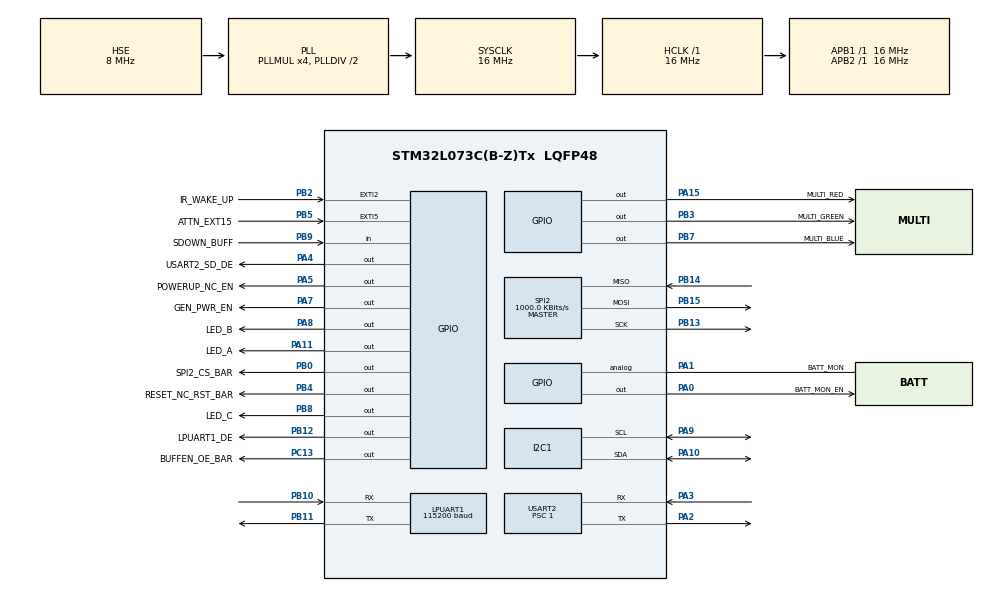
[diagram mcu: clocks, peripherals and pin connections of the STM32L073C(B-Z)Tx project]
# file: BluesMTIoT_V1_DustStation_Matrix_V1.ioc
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I2C1.Timing=0x00503D58
LPUART1.BaudRate=115200
LPUART1.WordLength=UART_WORDLENGTH_8B
Mcu.Family=STM32L0
Mcu.Name=STM32L073C(B-Z)Tx
Mcu.Package=LQFP48
NVIC.EXTI2_3_IRQn=true\:0\:0\:false\:false\:true\:true\:true\:true
NVIC.EXTI4_15_IRQn=true\:0\:0\:false\:false\:true\:true\:true\:true
NVIC.RNG_LPUART1_IRQn=true\:0\:0\:false\:false\:true\:true\:true\:true
NVIC.RTC_IRQn=true\:0\:0\:false\:false\:true\:true\:true\:true
NVIC.USART2_IRQn=true\:0\:0\:false\:false\:true\:true\:true\:true
PA0.GPIO_Label=BATT_MON_EN
PA0.Signal=GPIO_Output
PA1.GPIO_Label=BATT_MON
PA1.Signal=GPIO_Analog
PA10.GPIO_Pu=GPIO_NOPULL
PA10.Mode=I2C
PA10.Signal=I2C1_SDA
PA11.GPIO_Label=LED_A
PA11.GPIO_PuPd=GPIO_PULLUP
PA11.PinState=GPIO_PIN_RESET
PA11.Signal=GPIO_Output
PA13.Mode=Serial_Wire
PA13.Signal=SYS_SWDIO
PA14.Mode=Serial_Wire
PA14.Signal=SYS_SWCLK
PA15.GPIO_Label=MULTI_RED
PA15.GPIO_PuPd=GPIO_PULLUP
PA15.PinState=GPIO_PIN_SET
PA15.Signal=GPIO_Output
PA2.Mode=IrDA
PA2.Signal=USART2_TX
PA3.Mode=IrDA
PA3.Signal=USART2_RX
PA4.GPIO_Label=USART2_SD_DE
PA4.GPIO_PuPd=GPIO_PULLDOWN
PA4.GPIO_Speed=GPIO_SPEED_FREQ_HIGH
PA4.Signal=GPIO_Output
PA5.GPIO_Label=POWERUP_NC_EN
PA5.GPIO_PuPd=GPIO_PULLUP
PA5.Signal=GPIO_Output
PA7.GPIO_Label=GEN_PWR_EN
PA7.GPIO_PuPd=GPIO_PULLUP
PA7.PinState=GPIO_PIN_RESET
PA7.Signal=GPIO_Output
PA8.GPIO_Label=LED_B
PA8.GPIO_PuPd=GPIO_PULLUP
PA8.Signal=GPIO_Output
PA9.GPIO_Pu=GPIO_NOPULL
PA9.Mode=I2C
PA9.Signal=I2C1_SCL
PB0.GPIO_Label=SPI2_CS_BAR
PB0.GPIO_PuPd=GPIO_PULLUP
PB0.PinState=GPIO_PIN_SET
PB0.Signal=GPIO_Output
PB10.Mode=Asynchronous
PB10.Signal=LPUART1_RX
PB11.Mode=Asynchronous
PB11.Signal=LPUART1_TX
PB12.GPIO_Label=LPUART1_DE
PB12.GPIO_PuPd=GPIO_PULLDOWN
PB12.GPIO_Speed=GPIO_SPEED_FREQ_HIGH
PB12.Signal=GPIO_Output
PB13.Mode=Full_Duplex_Master
PB13.Signal=SPI2_SCK
PB14.Mode=Full_Duplex_Master
PB14.Signal=SPI2_MISO
PB15.Mode=Full_Duplex_Master
PB15.Signal=SPI2_MOSI
PB2.GPIO_Label=IR_WAKE_UP
PB2.GPIO_ModeDefaultEXTI=GPIO_MODE_IT_FALLING
PB2.GPIO_PuPd=GPIO_NOPULL
PB2.Signal=GPXTI2
PB3.GPIO_Label=MULTI_GREEN
PB3.GPIO_PuPd=GPIO_PULLUP
PB3.PinState=GPIO_PIN_SET
PB3.Signal=GPIO_Output
PB4.GPIO_Label=RESET_NC_RST_BAR
PB4.GPIO_PuPd=GPIO_PULLUP
PB4.PinState=GPIO_PIN_SET
PB4.Signal=GPIO_Output
PB5.GPIO_Label=ATTN_EXT15
PB5.GPIO_ModeDefaultEXTI=GPIO_MODE_IT_RISING
PB5.GPIO_PuPd=GPIO_NOPULL
PB5.Signal=GPXTI5
PB7.GPIO_Label=MULTI_BLUE
PB7.GPIO_PuPd=GPIO_PULLUP
PB7.PinState=GPIO_PIN_SET
PB7.Signal=GPIO_Output
PB8.GPIO_Label=LED_C
PB8.GPIO_PuPd=GPIO_PULLUP
PB8.PinState=GPIO_PIN_RESET
PB8.Signal=GPIO_Output
PB9.GPIO_Label=SDOWN_BUFF
PB9.Signal=GPIO_Input
PC13.GPIO_Label=BUFFEN_OE_BAR
PC13.GPIO_PuPd=GPIO_PULLUP
PC13.PinState=GPIO_PIN_SET
PC13.Signal=GPIO_Output
PC14-OSC32_IN.Mode=LSE-External-Clock-Source
PC14-OSC32_IN.Signal=RCC_OSC32_IN
PH0-OSC_IN.Mode=HSE-External-Clock-Source
PH0-OSC_IN.Signal=RCC_OSC_IN
ProjectManager.HeapSize=0x200
ProjectManager.StackSize=0x400
ProjectManager.TargetToolchain=STM32CubeIDE
RCC.AHBFreq_Value=16000000
RCC.APB1Freq_Value=16000000
RCC.APB1TimFreq_Value=16000000
RCC.APB2Freq_Value=16000000
RCC.APB2TimFreq_Value=16000000
RCC.HCLKFreq_Value=16000000
RCC.HSE_VALUE=8000000
RCC.HSI16_VALUE=16000000
RCC.HSI48_VALUE=48000000
RCC.HSI_VALUE=16000000
RCC.I2c1ClockSelection=RCC_I2C1CLKSOURCE_SYSCLK
RCC.LSE_VALUE=32768
RCC.Lpuart1ClockSelection=RCC_LPUART1CLKSOURCE_SYSCLK
RCC.MSI_VALUE=2097000
RCC.PLLMUL=RCC_PLLMUL_4
RCC.PLLSourceVirtual=RCC_PLLSOURCE_HSE
RCC.RTCClockSelection=RCC_RTCCLKSOURCE_LSE
RCC.RTCClockSelectionVirtual=RCC_RTCCLKSOURCE_LSE
RCC.SYSCLKFreq_VALUE=16000000
RCC.SYSCLKSource=RCC_SYSCLKSOURCE_PLLCLK
RCC.Usart2ClockSelection=RCC_USART2CLKSOURCE_SYSCLK
RCC.VCOOutputFreq_Value=32000000
SPI2.BaudRatePrescaler=SPI_BAUDRATEPRESCALER_16
SPI2.CalculateBaudRate=1000.0 KBits/s
SPI2.Direction=SPI_DIRECTION_2LINES
SPI2.Mode=SPI_MODE_MASTER
SPI2.VirtualType=VM_MASTER
USART2.Prescaler=1
USART2.VirtualMode-IrDA=VM_IRDA
VP_RTC_VS_RTC_Activate.Mode=RTC_Enabled
VP_RTC_VS_RTC_Calendar.Mode=RTC_Calendar
VP_RTC_VS_RTC_WakeUp_intern.Mode=WakeUp
board=custom

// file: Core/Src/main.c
/* USER CODE BEGIN Header */
/**
  ******************************************************************************
  * @file           : main.c
  * @brief          : Main program body
  ******************************************************************************
  * @attention
  *
  * Copyright (c) 2026 STMicroelectronics.
  * All rights reserved.
  *
  * This software is licensed under terms that can be found in the LICENSE file
  * in the root directory of this software component.
  * If no LICENSE file comes with this software, it is provided AS-IS.
  *
  ******************************************************************************
  */
/* USER CODE END Header */
#include "main.h"

/* USER CODE BEGIN Includes */
#include <stdbool.h>
#include <stdlib.h>
#include <string.h>
#include <usart2.h>
#include <lpuart1.h>
#include "particle_sensor.h"
#include "note.h"

#include "process.h"
#include "rtc.h"
#include "inits.h"

/* USER CODE END Includes */

/* USER CODE BEGIN PD */
// Notecard I2C address (7-bit)
#define NOTE_I2C_ADDR        0x17
// Maximum I2C buffer size for Notecard
#define NOTE_I2C_MAX_SIZE    256
/* USER CODE END PD */

I2C_HandleTypeDef hi2c1;

UART_HandleTypeDef hlpuart1;
IRDA_HandleTypeDef hirda2;

RTC_HandleTypeDef hrtc;

SPI_HandleTypeDef hspi2;

/* USER CODE BEGIN PV */
#ifdef IR_USART2_SEL
  IRDA_HandleTypeDef* pActiveIrda = &hirda2;
#else
  UART_HandleTypeDef* pActiveUart = &husart2;
#endif

// USART2 variables
uint8_t rx_buffer[MAX_RX_BUFFER_ARRAY];
uint8_t tx_buffer[MAX_TX_BUFFER_ARRAY];
volatile uint16_t rx_index;
volatile uint16_t tx_index;
volatile uint16_t tx_length;
volatile uint8_t tx_busy;

// LPUART1 variables (temporary only)
uint8_t rx_byte;
uint8_t tx_message[] = "LPUART1 Ready\r\n";

/* USER CODE END PV */

void SystemClock_Config(void);
static void MX_GPIO_Init(void);
static void MX_USART2_IRDA_Init(void);
static void MX_I2C1_Init(void);
static void MX_LPUART1_UART_Init(void);
static void MX_RTC_Init(void);
static void MX_SPI2_Init(void);
/* USER CODE BEGIN PFP */
// =========================================================================
// STOP MODE Functions
// =========================================================================
void Set_IR_WakeUp_As_Input(void)
{
    GPIO_InitTypeDef GPIO_InitStruct = {0};
    GPIO_InitStruct.Pin = IR_WAKE_UP_Pin;
    GPIO_InitStruct.Mode = GPIO_MODE_INPUT;
    GPIO_InitStruct.Pull = GPIO_NOPULL;
    HAL_GPIO_Init(IR_WAKE_UP_GPIO_Port, &GPIO_InitStruct);
}

void Set_IR_WakeUp_As_Interrupt(void)
{
    GPIO_InitTypeDef GPIO_InitStruct = {0};
    GPIO_InitStruct.Pin = IR_WAKE_UP_Pin;
    GPIO_InitStruct.Mode = GPIO_MODE_IT_FALLING;
    GPIO_InitStruct.Pull = GPIO_NOPULL;
    HAL_GPIO_Init(IR_WAKE_UP_GPIO_Port, &GPIO_InitStruct);
}

void Enter_Stop_Mode(void)
{
    uint32_t now_epoch = RTC_GetEpochSeconds();

    // If the scheduled sample time has already arrived or passed while awake, return immediately
    if (SysState.next_sample_epoch != 0 && now_epoch >= SysState.next_sample_epoch)
    {
        return;
    }

    uint32_t sleep_sec = (SysState.next_sample_epoch > now_epoch)
                         ? (SysState.next_sample_epoch - now_epoch)
                         : SysState.sample_interval_sec;
    if (sleep_sec == 0) sleep_sec = 1;

    // 1. Configure RTC WakeUp Timer for exact remaining seconds (0-indexed: sleep_sec - 1)
    HAL_RTCEx_DeactivateWakeUpTimer(&hrtc);
    __HAL_PWR_CLEAR_FLAG(PWR_FLAG_WU);
    __HAL_RTC_WAKEUPTIMER_CLEAR_FLAG(&hrtc, RTC_FLAG_WUTF);
    SysState.rtc_wakeup_pending = 0;
    //SysState.attn_pending = 0;
    SysState.wakeup_source = WAKEUP_NONE;
    HAL_RTCEx_SetWakeUpTimer_IT(&hrtc, (sleep_sec > 1) ? (sleep_sec - 1) : 1, RTC_WAKEUPCLOCK_CK_SPRE_16BITS);

    // 2. Power down external peripherals (RS-485, IrDA TX, EEPROM)
    HAL_GPIO_WritePin(GEN_PWR_EN_GPIO_Port, GEN_PWR_EN_Pin, GPIO_PIN_RESET);
    HAL_Delay(10); // Let 3p0_GEN rail discharge cleanly

    // Abort sleep immediately if an IR wakeup pulse arrived during the 10ms rail discharge!
    if (HAL_GPIO_ReadPin(IR_WAKE_UP_GPIO_Port, IR_WAKE_UP_Pin) == GPIO_PIN_RESET)
    {
        HAL_GPIO_WritePin(GEN_PWR_EN_GPIO_Port, GEN_PWR_EN_Pin, GPIO_PIN_SET);
        SysState.last_activity_tick = HAL_GetTick();
        return;
    }

    // 3. Turn off status LEDs and suspend SysTick
    HAL_GPIO_WritePin(LED_A_GPIO_Port, LED_A_Pin, GPIO_PIN_RESET);
    HAL_GPIO_WritePin(LED_B_GPIO_Port, LED_B_Pin, GPIO_PIN_RESET);
    HAL_SuspendTick();

    // 4. Disable UART/IrDA NVIC interrupts while unpowered so line drops don't trigger false IRQs
    HAL_NVIC_DisableIRQ(USART2_IRQn);
    HAL_NVIC_DisableIRQ(LPUART1_IRQn);

    // 5. Arm PB2 (IR_WAKE_UP) and PB5 (ATTN) EXTI interrupts cleanly
    Set_IR_WakeUp_As_Interrupt();
    __HAL_GPIO_EXTI_CLEAR_IT(IR_WAKE_UP_Pin);
    __HAL_GPIO_EXTI_CLEAR_IT(ATTN_EXT15_Pin);
    __HAL_RTC_WAKEUPTIMER_EXTI_CLEAR_FLAG();
    HAL_NVIC_ClearPendingIRQ(EXTI2_3_IRQn);
    HAL_NVIC_ClearPendingIRQ(EXTI4_15_IRQn);
    HAL_NVIC_ClearPendingIRQ(RTC_IRQn);
    HAL_NVIC_EnableIRQ(EXTI2_3_IRQn);
    HAL_NVIC_EnableIRQ(EXTI4_15_IRQn);
    SCB->ICSR = SCB_ICSR_PENDSTCLR_Msk;

    // 6. Enter STOP Mode (PWR_MAINREGULATOR_ON for fast wakeup)
    HAL_PWR_EnterSTOPMode(PWR_MAINREGULATOR_ON, PWR_STOPENTRY_WFI);

    // ================== MCU WAKES UP HERE ==================

    // 7. Power up GEN_PWR_EN FIRST so U34 & IrDA transceiver warm up in parallel
    HAL_GPIO_WritePin(GEN_PWR_EN_GPIO_Port, GEN_PWR_EN_Pin, GPIO_PIN_SET);

    // 8. Resume SysTick and restore System Clock immediately
    HAL_ResumeTick();
    SystemClock_Config();
    HAL_GPIO_WritePin(LED_A_GPIO_Port, LED_A_Pin, GPIO_PIN_SET);

    // 9. Disarm PB2 EXTI, re-enable UART NVIC IRQs, and start RX immediately
    HAL_NVIC_DisableIRQ(EXTI2_3_IRQn);
    Set_IR_WakeUp_As_Input();
    HAL_NVIC_EnableIRQ(USART2_IRQn);
    HAL_NVIC_EnableIRQ(LPUART1_IRQn);
    Start_Uart2_Rx();
    Start_Lpuart1_Rx();

    // 10. Reset inactivity timer so MCU stays awake for at least INACTIVITY_SLEEP_MS
    SysState.last_activity_tick = HAL_GetTick();
}

// =========================================================================
// OFFICIAL TRANSLATION HOOKS: Maps STM32 HAL directly to note-c API
// =========================================================================

// Signature matches: typedef bool (*i2cResetFn) (uint16_t deviceAddress);
bool noteI2CReset(uint16_t deviceAddress) {
    return (HAL_I2C_IsDeviceReady(&hi2c1, (deviceAddress << 1), 3, 100) == HAL_OK);
}

const char *noteI2CTransmit(uint16_t deviceAddress, uint8_t *buffer, uint16_t size) {
    uint8_t *writebuf = malloc(size + 1);
    if (writebuf == NULL) {
        return "I2C: malloc failed";
    }
    writebuf[0] = (uint8_t)size;
    memcpy(&writebuf[1], buffer, size);
    HAL_StatusTypeDef status = HAL_I2C_Master_Transmit(&hi2c1, (deviceAddress << 1), writebuf, size + 1, 200);
    free(writebuf);
    return (status == HAL_OK) ? NULL : "I2C Transmit Error";
}

const char *noteI2CReceive(uint16_t deviceAddress, uint8_t *buffer, uint16_t size, uint32_t *available) {
    // First, request a read of (size + 2) bytes: [available_byte, good_byte, payload...]
    uint8_t hdr[2] = {0, (uint8_t)size};  // 0 = reserved, size = requested bytes
    HAL_StatusTypeDef status = HAL_I2C_Master_Transmit(&hi2c1, (deviceAddress << 1), hdr, 2, 200);
    if (status != HAL_OK) {
        *available = 0;
        return "I2C Receive: transmit request failed";
    }

    uint8_t *readbuf = malloc(size + 2);
    if (readbuf == NULL) {
        *available = 0;
        return "I2C Receive: malloc failed";
    }
    status = HAL_I2C_Master_Receive(&hi2c1, (deviceAddress << 1), readbuf, size + 2, 200);
    if (status != HAL_OK) {
        free(readbuf);
        *available = 0;
        return "I2C Receive: receive failed";
    }

    *available = readbuf[0];   // number of bytes actually available in Notecard
    if (readbuf[1] != size) {  // sanity check: should equal requested size
        free(readbuf);
        return "I2C Receive: length mismatch";
    }
    memcpy(buffer, &readbuf[2], size);
    free(readbuf);
    return NULL;
}

// Platform time management hooks
void noteDelayMs(uint32_t ms) {
    HAL_Delay(ms);
}

uint32_t noteMillis(void) {
    return HAL_GetTick();
}

// =========================-===========
// GETTING INCOMING DATA FROM THE NOTECARD
// Function to check for and process inbound notes from Notehub
void processInboundNotes(void)
{
    while (1)
    {
        // Retrieve and delete the next inbound note from data.qi
        J *get_req = NoteNewRequest("note.get");
        if (get_req == NULL) return;

        JAddStringToObject(get_req, "file", "data.qi");
        JAddBoolToObject(get_req, "delete", true);

        J *note_rsp = NoteRequestResponse(get_req);
        if (note_rsp == NULL) return;

        // If Notecard returns an error (e.g. "{no-note}" when queue is empty), stop looping
        if (NoteResponseError(note_rsp)) {
            NoteDeleteResponse(note_rsp);
            return;
        }

        J *inbound_body = JGetObject(note_rsp, "body");
        if (inbound_body != NULL) {
            /*
            const char *command = JGetString(inbound_body, "led");
            if (command != NULL) {
                if (strcmp(command, "on") == 0) {
                    HAL_GPIO_WritePin(MULTI_RED_GPIO_Port, MULTI_RED_Pin, GPIO_PIN_SET);
                    HAL_GPIO_WritePin(MULTI_GREEN_GPIO_Port, MULTI_GREEN_Pin, GPIO_PIN_SET);
                } else if (strcmp(command, "off") == 0) {
                    HAL_GPIO_WritePin(MULTI_RED_GPIO_Port, MULTI_RED_Pin, GPIO_PIN_RESET);
                    HAL_GPIO_WritePin(MULTI_GREEN_GPIO_Port, MULTI_GREEN_Pin, GPIO_PIN_RESET);
                }
            }
            */
            // Add future inbound command parsing here
        }
        NoteDeleteResponse(note_rsp);
    }
}

// =========================================================================
// QUEUE DUST TELEMETRY TO NOTECARD & TRIGGER CLOUD SYNC
// =========================================================================
void Notecard_SendDustReading(const ParticleReading_t *reading)
{
    if (reading == NULL || !reading->valid) return;

    // 1. Add note to sensors.qo using the compact template defined in Block B
    J *req = NoteNewRequest("note.add");
    if (req != NULL) {
        JAddStringToObject(req, "file", "sensors.qo");

        J *body = JCreateObject();
        if (body != NULL) {
            JAddNumberToObject(body, "rec",    reading->record_number);
            JAddNumberToObject(body, "ts",     RTC_GetEpochSeconds());
            JAddNumberToObject(body, "pm2_5",  reading->pm2_5);
            JAddNumberToObject(body, "pm10",   reading->pm10);
            JAddNumberToObject(body, "counts", reading->total_counts);
            JAddNumberToObject(body, "flow",   reading->flow_rate_ml_min);
            JAddNumberToObject(body, "dur_s",  reading->sample_seconds);
            JAddNumberToObject(body, "err",    reading->error_status);
            JAddItemToObject(req, "body", body);
        }

        // Sends request and automatically frees req, body, and response
        NoteRequest(req);
    }

    // 2. Trigger background cellular/Wi-Fi sync to Notehub.io
    J *sync_req = NoteNewCommand("hub.sync");
    if (sync_req != NULL) {
        NoteRequest(sync_req);
    }

    // Process any inbound notes from the cloud (matches original Block C line 739)
    processInboundNotes();

    // 3. Flash MULTI_BLUE once to show telemetry was queued to Notecard
    HAL_GPIO_WritePin(MULTI_BLUE_GPIO_Port, MULTI_BLUE_Pin, GPIO_PIN_SET);
    HAL_Delay(100);
    HAL_GPIO_WritePin(MULTI_BLUE_GPIO_Port, MULTI_BLUE_Pin, GPIO_PIN_RESET);
}

/* USER CODE END PFP */

int main(void)
{

  /* MCU Configuration--------------------------------------------------------*/

  /* Reset of all peripherals, Initializes the Flash interface and the Systick. */
  HAL_Init();

  /* Configure the system clock */
  SystemClock_Config();

  /* Initialize all configured peripherals */
  MX_GPIO_Init();
  MX_USART2_IRDA_Init();
  MX_I2C1_Init();
  MX_LPUART1_UART_Init();
  MX_RTC_Init();
  MX_SPI2_Init();
  /* USER CODE BEGIN 2 */

  HAL_GPIO_WritePin(LED_A_GPIO_Port, LED_A_Pin, GPIO_PIN_RESET);
  HAL_GPIO_WritePin(LED_B_GPIO_Port, LED_B_Pin, GPIO_PIN_RESET);
  HAL_GPIO_WritePin(LED_C_GPIO_Port, LED_C_Pin, GPIO_PIN_RESET);

  HAL_GPIO_WritePin(MULTI_RED_GPIO_Port, MULTI_RED_Pin, GPIO_PIN_RESET);
  HAL_GPIO_WritePin(MULTI_GREEN_GPIO_Port, MULTI_GREEN_Pin, GPIO_PIN_RESET);
  HAL_GPIO_WritePin(MULTI_BLUE_GPIO_Port, MULTI_BLUE_Pin, GPIO_PIN_RESET);

  // LPUART1
  HAL_GPIO_WritePin(LPUART1_DE_GPIO_Port, LPUART1_DE_Pin, GPIO_PIN_RESET); // Recv mode

  // USART2
  HAL_GPIO_WritePin(USART2_SD_DE_GPIO_Port, USART2_SD_DE_Pin, GPIO_PIN_RESET); // Recv mode

  // EEPROM
  HAL_GPIO_WritePin(SPI2_CS_BAR_GPIO_Port, SPI2_CS_BAR_Pin, GPIO_PIN_SET);

  // Power Distribution (3p3_SW --> 3p0_GEN) -- POWER UP both USART2 and LPUART1 as well as external EEPROM (M95P32-EXMNT/E)
  // We should not have this powered on by default during final deployment.
  // It should only be on when it needs to be on (e.g. communicating and/or saving data to the EEPROM)

  // Enable 3p0_GEN power rail to the RS-485 transceiver (U19)
  HAL_GPIO_WritePin(GEN_PWR_EN_GPIO_Port, GEN_PWR_EN_Pin, GPIO_PIN_SET);
  HAL_GPIO_WritePin(POWERUP_NC_EN_GPIO_Port, POWERUP_NC_EN_Pin, GPIO_PIN_SET);
  HAL_Delay(100);

  // Reset the Note Card
  HAL_GPIO_WritePin(RESET_NC_RST_BAR_GPIO_Port, RESET_NC_RST_BAR_Pin, GPIO_PIN_RESET);
  HAL_Delay(1000);
  HAL_GPIO_WritePin(RESET_NC_RST_BAR_GPIO_Port, RESET_NC_RST_BAR_Pin, GPIO_PIN_SET);

  // CRITICAL: Wait for Notecard to fully boot (needs ~5 seconds)
  // MT: Uplink Block disabled A_MINUS_1
  HAL_Delay(8000);

  // Three quick blinks = hardware started correctly
  for (int i = 0; i < 5; i++)
  {
      HAL_GPIO_WritePin(LED_B_GPIO_Port, LED_B_Pin, GPIO_PIN_SET);
      HAL_Delay(100);
      HAL_GPIO_WritePin(LED_B_GPIO_Port, LED_B_Pin, GPIO_PIN_RESET);
      HAL_Delay(100);
  }

  // Initialize the RTC
  RTC_Init();
  HAL_RTCEx_DeactivateWakeUpTimer(&hrtc);
  SysState.rtc_wakeup_pending = 0;

  // Start Receive Interrupts of both USART2 and LPUART1
  Start_Uart2_Rx();  // Start USART2 Receive Interrupts
  Start_Lpuart1_Rx(); // Start LPUART1 Receive Interrupts

  // This was to fix the Notecarrier power-off during Start Sampling issue,
  // where even after powering back on, Stop Sampling did not take effect.
  // Instead it was back to back Start Sampling followed by a very momentary Stop Sampling
  // and back to Start Sampling loop.
  // Note: This was with the Particle Plus powered independently with its 12V jack.
  //           Likely would not occur if the power supply is controlled by the Notecarrier as it would power on/off
  //           all peripherals like the Particle Plus for each Sampling session.
  // 1. Clear any leftover RTC wakeup flag from cold boot
  HAL_RTCEx_DeactivateWakeUpTimer(&hrtc);
  __HAL_RTC_WAKEUPTIMER_CLEAR_FLAG(&hrtc, RTC_FLAG_WUTF);
  SysState.rtc_wakeup_pending = 0;

  // 2. Power/prepare Particles Plus and configure sample timing
  Particle_PowerAndPrepare(DEFAULT_SAMPLE_DURATION_SEC);
  HAL_Delay(250);

  // Particle Sensor 7 Seconds On-Off Test
  if (Particle_Run7SecTest())
  {
      HAL_Delay(300); // Allow sensor to commit startup sample record to flash
      Particle_LatchAndReadLatest(&LatestDustReading);

      // Green/LED_A solid = Start & Stop commands both acknowledged!
      HAL_GPIO_WritePin(LED_A_GPIO_Port, LED_A_Pin, GPIO_PIN_SET);
  }
  else
  {
      // Red LED = No Modbus response or timeout
      HAL_GPIO_WritePin(MULTI_RED_GPIO_Port, MULTI_RED_Pin, GPIO_PIN_SET);
  }

// MT: Uplink Block disabled A
  // =========================================================================
  // Register I2C translators with note-c framework
  // =========================================================================
  NoteSetFn(malloc, free, noteDelayMs, noteMillis);
  NoteSetFnI2C(NOTE_I2C_ADDR, NOTE_I2C_MAX_SIZE, noteI2CReset, noteI2CTransmit, noteI2CReceive);

  // =========================================================================
  // Verify I2C communication with Notecard
  // =========================================================================
  HAL_Delay(500);  // Small delay before first ping

  if (!noteI2CReset(NOTE_I2C_ADDR)) {
      // Fast flashing = Cannot talk to Notecard over I2C
      while(1) {
    	  HAL_GPIO_TogglePin(MULTI_RED_GPIO_Port, MULTI_RED_Pin);
          HAL_Delay(100);
      }
  }

  // Slow blink 3 times = I2C communication verified
  for (int i = 0; i < 3; i++) {
      HAL_GPIO_WritePin(LED_B_GPIO_Port, LED_B_Pin, GPIO_PIN_SET);
      HAL_Delay(300);
      HAL_GPIO_WritePin(LED_B_GPIO_Port, LED_B_Pin, GPIO_PIN_RESET);
      HAL_Delay(300);
  }

  // =========================================================================
  // Configure Notecard once at startup
  // =========================================================================

  // Set Product and mode (runs once)
  J *config_req = NoteNewRequest("hub.set");
  if (config_req) {
      JAddStringToObject(config_req, "product", "com.yahoo.nanogens:dust_station_matrix_v1");
      JAddStringToObject(config_req, "mode", "periodic");      // Low-power periodic mode
      JAddNumberToObject(config_req, "outbound", 0);           // Manual sync via hub.sync
      JAddNumberToObject(config_req, "inbound", 0);            // Manual sync via hub.sync
      NoteRequest(config_req);  // Waits for confirmation and frees both req & rsp
  }
  J *location_req = NoteNewRequest("card.location.mode");
  if (location_req) {
      JAddStringToObject(location_req, "mode", "periodic");   // Saves battery when stationary
      JAddNumberToObject(location_req, "seconds", 300);       // Match your 5-minute STM32 loop
      NoteRequest(location_req);
  }

  // 3. Process any inbound notes already waiting on the Notecard, then arm ATTN (PB5)
  processInboundNotes();

  J *attn_req = NoteNewRequest("card.attn");
  if (attn_req) {
      JAddStringToObject(attn_req, "mode", "arm,rearm,files");
      const char *filesToWatch[] = {"data.qi"};
      JAddItemToObject(attn_req, "files", JCreateStringArray(filesToWatch, 1));
      NoteRequest(attn_req);
  }

  // Clear any old test data
  J *delete_req = NoteNewRequest("file.delete");
  if (delete_req) {
      JAddStringToObject(delete_req, "file", "sensors.qo");
      NoteRequest(delete_req);
  }

  // Verify Notecard is ready
  J *version_req = NoteNewRequest("card.version");
  if (version_req) {
      J *version_rsp = NoteRequestResponse(version_req);
      if (version_rsp) {
          // 5 quick blinks = ready
          for (int i = 0; i < 5; i++) {
              HAL_GPIO_WritePin(MULTI_GREEN_GPIO_Port, MULTI_GREEN_Pin, GPIO_PIN_SET);
              HAL_Delay(50);
              HAL_GPIO_WritePin(MULTI_GREEN_GPIO_Port, MULTI_GREEN_Pin, GPIO_PIN_RESET);
              HAL_Delay(50);
          }
          NoteDeleteResponse(version_rsp);
      }
  }

  SysState.last_activity_tick = HAL_GetTick();

  SysState.next_sample_epoch = RTC_GetEpochSeconds() + SysState.sample_interval_sec;
  SysState.last_activity_tick = HAL_GetTick();

  /* USER CODE END 2 */

  /* Infinite loop */
  /* USER CODE BEGIN WHILE */

  // MT: Uplink Block B
    // Create a compact binary template for sensors.qo matching ParticleReading_t
    J *template_req = NoteNewRequest("note.template");
    if (template_req) {
        JAddStringToObject(template_req, "file", "sensors.qo");

        // Define the schema using Notecard type hints:
        // 24 = uint32_t, 22 = uint16_t, 14.1 = float (4-byte IEEE-754)
        J *body = JCreateObject();
        if (body) {
            JAddNumberToObject(body, "rec",    24);    // uint32_t: Record number
            JAddNumberToObject(body, "ts",     24);    // uint32_t: RTC epoch timestamp (s since 2000-01-01)
            JAddNumberToObject(body, "pm2_5",  14.1);  // float:    PM2.5 concentration (ug/m3)
            JAddNumberToObject(body, "pm10",   14.1);  // float:    PM10 concentration (ug/m3)
            JAddNumberToObject(body, "counts", 14.1);  // float:    Total particle counts (#/cm3)
            JAddNumberToObject(body, "flow",   22);    // uint16_t: Average pump flow rate (mL/min)
            JAddNumberToObject(body, "dur_s",  22);    // uint16_t: Sample duration (seconds)
            JAddNumberToObject(body, "err",    22);    // uint16_t: Sensor error status bitmask
            JAddItemToObject(template_req, "body", body);
        }

        // Send the template request (automatically frees template_req, body, and response)
        NoteRequest(template_req);
    }
    HAL_Delay(500);  // Give Notecard time to apply the template
    Notecard_SendDustReading(&LatestDustReading); // <-- ADD THIS LINE (uploads startup test reading)
    SysState.last_activity_tick = HAL_GetTick();

  // Testing LPUART1 transmission
  /*
  uint8_t data[] = "Hello World\r\n";
  while(1)
  {
    HAL_UART_Transmit(&hlpuart1, data, sizeof(data) - 1, HAL_MAX_DELAY);
    HAL_Delay(500);
  }
  */

  uint32_t sample_start_tick = 0;
  uint32_t sample_duration_ms = DEFAULT_SAMPLE_DURATION_SEC * 1000UL;

  while (1)
  {
      ProcessMsg();

	  //HAL_GPIO_TogglePin(LED_A_GPIO_Port, LED_A_Pin);
	  //HAL_GPIO_TogglePin(LED_B_GPIO_Port, LED_B_Pin);
	  //HAL_GPIO_TogglePin(LED_C_GPIO_Port, LED_C_Pin);
	  //HAL_Delay(1000);

	  // Testing LPUART1  output ===========================
	  // Enable RS-485 Transmitter
	  // HAL_GPIO_WritePin(LPUART1_DE_GPIO_Port, LPUART1_DE_Pin, GPIO_PIN_SET);
	  // Send message
	  // HAL_UART_Transmit(&hlpuart1, tx_message, sizeof(tx_message) - 1, 100);
	  // Return to RS-485 Receiver mode
	  // HAL_GPIO_WritePin(LPUART1_DE_GPIO_Port, LPUART1_DE_Pin, GPIO_PIN_RESET);

	  // Testing UART2 output ===========================
	  // Ensure IrDA transceiver shutdown/DE pin (PA4) is LOW (Active/Normal mode)
	  //HAL_GPIO_WritePin(USART2_SD_DE_GPIO_Port, USART2_SD_DE_Pin, GPIO_PIN_RESET);
	  // Send 1 byte using blocking IrDA transmit
	  //HAL_IRDA_Transmit(&hirda2, &irda_test, 1, 100);

      // 1. Start a scheduled dust sample when the target RTC epoch arrives (non-blocking)
      if ((!SysState.sampling_active) &&
          (SysState.next_sample_epoch != 0) &&
          (RTC_GetEpochSeconds() >= SysState.next_sample_epoch))
      {
          if (Particle_PowerAndPrepare(DEFAULT_SAMPLE_DURATION_SEC) && Particle_StartSampling())
          {
              SysState.sampling_active = 1;
              sample_start_tick = HAL_GetTick();
              HAL_GPIO_WritePin(LED_C_GPIO_Port, LED_C_Pin, GPIO_PIN_SET);
          }
          else
          {
              // Retry in 5 seconds if Modbus prep/start failed
              SysState.next_sample_epoch = RTC_GetEpochSeconds() + 5;
          }
      }

      // 2. Monitor active sample non-blockingly until sensor finishes & saves record (status == 2)
      if (SysState.sampling_active)
      {
          uint32_t elapsed_ms = HAL_GetTick() - sample_start_tick;
          if (elapsed_ms >= sample_duration_ms)
          {
              uint16_t status = 0;
              Particle_ReadU16(PP_REG_SAMPLING_STATUS, &status);

              // Sensor finished its countdown naturally (status == 2) OR 15s safety timeout hit
              if (status == 2 || elapsed_ms >= (sample_duration_ms + 8000))
              {
                  if (status != 2)
                  {
                      Particle_StopSampling();
                  }
                  HAL_Delay(300); // Allow sensor to commit new record to flash

                  // Latch and read the newly saved record (record_number + PM2.5, PM10, counts, flow)
                  Particle_LatchAndReadLatest(&LatestDustReading);
                  Notecard_SendDustReading(&LatestDustReading);

                  HAL_GPIO_WritePin(LED_C_GPIO_Port, LED_C_Pin, GPIO_PIN_RESET);

                  // Schedule next sample anchored to the end of this completed sample
                  SysState.next_sample_epoch = RTC_GetEpochSeconds() + SysState.sample_interval_sec;
                  SysState.sampling_active = 0;
                  SysState.last_activity_tick = HAL_GetTick();
              }
          }
      }

      // 3. Handle Notecard ATTN wakeup flag (PB5 falling edge from inbound data.qi)
      if (SysState.attn_pending)
      {
          SysState.attn_pending = 0;

          // Flash MULTI_BLUE once to confirm PB5 ATTN wakeup trigger
          HAL_GPIO_WritePin(MULTI_BLUE_GPIO_Port, MULTI_BLUE_Pin, GPIO_PIN_SET);
          HAL_Delay(100);
          HAL_GPIO_WritePin(MULTI_BLUE_GPIO_Port, MULTI_BLUE_Pin, GPIO_PIN_RESET);

          // Check and process inbound commands in data.qi
          processInboundNotes();

          // Re-arm the Notecard ATTN pin so PB5 returns LOW until the next inbound note
          J *rearm_req = NoteNewRequest("card.attn");
          if (rearm_req != NULL) {
              JAddStringToObject(rearm_req, "mode", "arm,rearm,files");
              const char *filesToWatch[] = {"data.qi"};
              JAddItemToObject(rearm_req, "files", JCreateStringArray(filesToWatch, 1));
              NoteRequest(rearm_req);
          }

          SysState.last_activity_tick = HAL_GetTick();
      }

      // Check all 4 conditions before entering STOP mode:
      // a) Inactivity timer expired (>= INACTIVITY_SLEEP_MS)
      // b) No sampling cycle actively running
      // c) Sample interval > 5s (if <= 5s, stay awake with GEN_PWR_EN ON)
      // d) No pending Notecard ATTN interrupt
      if (
    	  ((HAL_GetTick() - SysState.last_activity_tick) >= INACTIVITY_SLEEP_MS) &&
          (!SysState.sampling_active) &&
          (SysState.sample_interval_sec > FAST_SAMPLE_THRESHOLD_SEC) &&
          (!SysState.attn_pending))
      {
          Enter_Stop_Mode();
      }

/*
// MT: Uplink Block disabled C
      // Create and send the note (no reconfiguration!)
	  J *req = NoteNewRequest("note.add");
	  if (req != NULL) {
	      J *body = JCreateObject();
	      JAddNumberToObject(body, "press", press_value);
	      JAddNumberToObject(body, "temp", temp_value);
	      JAddNumberToObject(body, "cond", cond_value);
	      JAddItemToObject(req, "body", body); // Attached to req
	      NoteRequest(req);
	      NoteDeleteResponse(req);             // Cleans up BOTH req and body automatically!

	      // 🗑️ REMOVED: if (body != NULL) JDelete(body);
	  }

      // Sync (sends outbound data and checks for inbound)
      J *sync_req = NoteNewCommand("hub.sync");
      if (sync_req) {
          NoteRequest(sync_req);
          NoteDeleteResponse(sync_req);
      }

      // Process any inbound notes from the cloud
      processInboundNotes();

      // Flash LED once to show transaction attempted
      HAL_GPIO_WritePin(MULTI_BLUE_GPIO_Port, MULTI_BLUE_Pin, GPIO_PIN_SET);
      HAL_Delay(100);
      HAL_GPIO_WritePin(MULTI_BLUE_GPIO_Port, MULTI_BLUE_Pin, GPIO_PIN_RESET);

      // Update test values
      press_value += 1;
      temp_value += 2;
      cond_value += 4;

      // Wait 5 mins before next reading
      // Note: 5 mins minimum is needed for it to lock GPS satellites
      //HAL_Delay(300000);

      // =========================================================================
      // Put STM32 into Low-Power STOP Mode instead of HAL_Delay
      // =========================================================================

      // Clear RTC flags and set the 5-minute backup alarm
      __HAL_RTC_WAKEUPTIMER_CLEAR_FLAG(&hrtc, RTC_FLAG_WUTF);
      HAL_RTCEx_SetWakeUpTimer_IT(&hrtc, 300, RTC_WAKEUPCLOCK_CK_SPRE_16BITS); // 300 seconds = 5 minutes exactly

      HAL_SuspendTick();
      HAL_PWR_EnterSTOPMode(PWR_MAINREGULATOR_ON, PWR_SLEEPENTRY_WFI);

      // -------------- THE STM32 SLEEPS UNTIL RTC TIMER OR PB5 EXTI FALLS --------------

      HAL_ResumeTick();
      HAL_RTCEx_DeactivateWakeUpTimer(&hrtc);
      SystemClock_Config(); // Restore full speed clocks (HSE/PLL)

      // Check if the Notecard's ATTN pin woke us up - 2 possible reasons: (a) Incoming data (ATTN_P interrupt from Note Card) or (b) 5 minute STM32 Wakeup timer which we have set
      J *attn_check = NoteNewRequest("card.attn");
      if (attn_check)
      {
          J *attn_rsp = NoteRequestResponse(attn_check);
          if (attn_rsp) {
              // If "files" is true in the response, we have inbound data waiting!
              if (JGetBool(attn_rsp, "files")) {
                  processInboundNotes(); // Process commands (like toggling LEDs) immediately
              }
              NoteDeleteResponse(attn_rsp);
          }
          NoteDeleteResponse(attn_check);
      }
*/
    /* USER CODE END WHILE */

  }
}

void SystemClock_Config(void)
{
  RCC_OscInitTypeDef RCC_OscInitStruct = {0};
  RCC_ClkInitTypeDef RCC_ClkInitStruct = {0};
  RCC_PeriphCLKInitTypeDef PeriphClkInit = {0};

  /** Configure the main internal regulator output voltage
  */
  __HAL_PWR_VOLTAGESCALING_CONFIG(PWR_REGULATOR_VOLTAGE_SCALE1);

  /** Initializes the RCC Oscillators according to the specified parameters
  * in the RCC_OscInitTypeDef structure.
  */
  RCC_OscInitStruct.OscillatorType = RCC_OSCILLATORTYPE_HSE|RCC_OSCILLATORTYPE_LSE;
  RCC_OscInitStruct.HSEState = RCC_HSE_BYPASS;
  RCC_OscInitStruct.LSEState = RCC_LSE_BYPASS;
  RCC_OscInitStruct.PLL.PLLState = RCC_PLL_ON;
  RCC_OscInitStruct.PLL.PLLSource = RCC_PLLSOURCE_HSE;
  RCC_OscInitStruct.PLL.PLLMUL = RCC_PLLMUL_4;
  RCC_OscInitStruct.PLL.PLLDIV = RCC_PLLDIV_2;
  if (HAL_RCC_OscConfig(&RCC_OscInitStruct) != HAL_OK)
  {
    Error_Handler();
  }

  /** Initializes the CPU, AHB and APB buses clocks
  */
  RCC_ClkInitStruct.ClockType = RCC_CLOCKTYPE_HCLK|RCC_CLOCKTYPE_SYSCLK
                              |RCC_CLOCKTYPE_PCLK1|RCC_CLOCKTYPE_PCLK2;
  RCC_ClkInitStruct.SYSCLKSource = RCC_SYSCLKSOURCE_PLLCLK;
  RCC_ClkInitStruct.AHBCLKDivider = RCC_SYSCLK_DIV1;
  RCC_ClkInitStruct.APB1CLKDivider = RCC_HCLK_DIV1;
  RCC_ClkInitStruct.APB2CLKDivider = RCC_HCLK_DIV1;

  if (HAL_RCC_ClockConfig(&RCC_ClkInitStruct, FLASH_LATENCY_0) != HAL_OK)
  {
    Error_Handler();
  }
  PeriphClkInit.PeriphClockSelection = RCC_PERIPHCLK_USART2|RCC_PERIPHCLK_LPUART1
                              |RCC_PERIPHCLK_I2C1|RCC_PERIPHCLK_RTC;
  PeriphClkInit.Usart2ClockSelection = RCC_USART2CLKSOURCE_SYSCLK;
  PeriphClkInit.Lpuart1ClockSelection = RCC_LPUART1CLKSOURCE_SYSCLK;
  PeriphClkInit.I2c1ClockSelection = RCC_I2C1CLKSOURCE_SYSCLK;
  PeriphClkInit.RTCClockSelection = RCC_RTCCLKSOURCE_LSE;
  if (HAL_RCCEx_PeriphCLKConfig(&PeriphClkInit) != HAL_OK)
  {
    Error_Handler();
  }
}

static void MX_I2C1_Init(void)
{

  hi2c1.Instance = I2C1;
  hi2c1.Init.Timing = 0x00503D58;
  hi2c1.Init.OwnAddress1 = 0;
  hi2c1.Init.AddressingMode = I2C_ADDRESSINGMODE_7BIT;
  hi2c1.Init.DualAddressMode = I2C_DUALADDRESS_DISABLE;
  hi2c1.Init.OwnAddress2 = 0;
  hi2c1.Init.OwnAddress2Masks = I2C_OA2_NOMASK;
  hi2c1.Init.GeneralCallMode = I2C_GENERALCALL_DISABLE;
  hi2c1.Init.NoStretchMode = I2C_NOSTRETCH_DISABLE;
  if (HAL_I2C_Init(&hi2c1) != HAL_OK)
  {
    Error_Handler();
  }

  /** Configure Analogue filter
  */
  if (HAL_I2CEx_ConfigAnalogFilter(&hi2c1, I2C_ANALOGFILTER_ENABLE) != HAL_OK)
  {
    Error_Handler();
  }

  /** Configure Digital filter
  */
  if (HAL_I2CEx_ConfigDigitalFilter(&hi2c1, 0) != HAL_OK)
  {
    Error_Handler();
  }

}

static void MX_LPUART1_UART_Init(void)
{

  hlpuart1.Instance = LPUART1;
  hlpuart1.Init.BaudRate = 115200;
  hlpuart1.Init.WordLength = UART_WORDLENGTH_8B;
  hlpuart1.Init.StopBits = UART_STOPBITS_1;
  hlpuart1.Init.Parity = UART_PARITY_NONE;
  hlpuart1.Init.Mode = UART_MODE_TX_RX;
  hlpuart1.Init.HwFlowCtl = UART_HWCONTROL_NONE;
  hlpuart1.Init.OneBitSampling = UART_ONE_BIT_SAMPLE_DISABLE;
  hlpuart1.AdvancedInit.AdvFeatureInit = UART_ADVFEATURE_NO_INIT;
  if (HAL_UART_Init(&hlpuart1) != HAL_OK)
  {
    Error_Handler();
  }

}

static void MX_USART2_IRDA_Init(void)
{

  hirda2.Instance = USART2;
  hirda2.Init.BaudRate = 115200;
  hirda2.Init.WordLength = IRDA_WORDLENGTH_8B;
  hirda2.Init.Parity = IRDA_PARITY_NONE;
  hirda2.Init.Mode = IRDA_MODE_TX_RX;
  hirda2.Init.Prescaler = 1;
  hirda2.Init.PowerMode = IRDA_POWERMODE_NORMAL;
  if (HAL_IRDA_Init(&hirda2) != HAL_OK)
  {
    Error_Handler();
  }

}

static void MX_RTC_Init(void)
{

  RTC_TimeTypeDef sTime = {0};
  RTC_DateTypeDef sDate = {0};

  /** Initialize RTC Only
  */
  hrtc.Instance = RTC;
  hrtc.Init.HourFormat = RTC_HOURFORMAT_24;
  hrtc.Init.AsynchPrediv = 127;
  hrtc.Init.SynchPrediv = 255;
  hrtc.Init.OutPut = RTC_OUTPUT_DISABLE;
  hrtc.Init.OutPutRemap = RTC_OUTPUT_REMAP_NONE;
  hrtc.Init.OutPutPolarity = RTC_OUTPUT_POLARITY_HIGH;
  hrtc.Init.OutPutType = RTC_OUTPUT_TYPE_OPENDRAIN;
  if (HAL_RTC_Init(&hrtc) != HAL_OK)
  {
    Error_Handler();
  }

  /* USER CODE BEGIN Check_RTC_BKUP */
  // Prevent CubeMX's auto-generated HAL_RTC_SetTime and HAL_RTC_SetDate
  // from resetting the clock to 00:00:00 on every reboot by checking the backup register first
  if (HAL_RTCEx_BKUPRead(&hrtc, RTC_BKP_DR0) == 0x32F2)
  {
	  return; // Skip overwriting time/date if RTC was already synced
  }
  /* USER CODE END Check_RTC_BKUP */

  /** Initialize RTC and set the Time and Date
  */
  sTime.Hours = 0x0;
  sTime.Minutes = 0x0;
  sTime.Seconds = 0x0;
  sTime.DayLightSaving = RTC_DAYLIGHTSAVING_NONE;
  sTime.StoreOperation = RTC_STOREOPERATION_RESET;
  if (HAL_RTC_SetTime(&hrtc, &sTime, RTC_FORMAT_BCD) != HAL_OK)
  {
    Error_Handler();
  }
  sDate.WeekDay = RTC_WEEKDAY_MONDAY;
  sDate.Month = RTC_MONTH_JANUARY;
  sDate.Date = 0x1;
  sDate.Year = 0x0;

  if (HAL_RTC_SetDate(&hrtc, &sDate, RTC_FORMAT_BCD) != HAL_OK)
  {
    Error_Handler();
  }

  /** Enable the WakeUp
  */
  if (HAL_RTCEx_SetWakeUpTimer_IT(&hrtc, 0, RTC_WAKEUPCLOCK_RTCCLK_DIV16) != HAL_OK)
  {
    Error_Handler();
  }

}

static void MX_SPI2_Init(void)
{

  /* SPI2 parameter configuration*/
  hspi2.Instance = SPI2;
  hspi2.Init.Mode = SPI_MODE_MASTER;
  hspi2.Init.Direction = SPI_DIRECTION_2LINES;
  hspi2.Init.DataSize = SPI_DATASIZE_8BIT;
  hspi2.Init.CLKPolarity = SPI_POLARITY_LOW;
  hspi2.Init.CLKPhase = SPI_PHASE_1EDGE;
  hspi2.Init.NSS = SPI_NSS_SOFT;
  hspi2.Init.BaudRatePrescaler = SPI_BAUDRATEPRESCALER_16;
  hspi2.Init.FirstBit = SPI_FIRSTBIT_MSB;
  hspi2.Init.TIMode = SPI_TIMODE_DISABLE;
  hspi2.Init.CRCCalculation = SPI_CRCCALCULATION_DISABLE;
  hspi2.Init.CRCPolynomial = 7;
  if (HAL_SPI_Init(&hspi2) != HAL_OK)
  {
    Error_Handler();
  }

}

static void MX_GPIO_Init(void)
{
  GPIO_InitTypeDef GPIO_InitStruct = {0};

  /* GPIO Ports Clock Enable */
  __HAL_RCC_GPIOC_CLK_ENABLE();
  __HAL_RCC_GPIOH_CLK_ENABLE();
  __HAL_RCC_GPIOA_CLK_ENABLE();
  __HAL_RCC_GPIOB_CLK_ENABLE();

  /*Configure GPIO pin Output Level */
  HAL_GPIO_WritePin(BUFFEN_OE_BAR_GPIO_Port, BUFFEN_OE_BAR_Pin, GPIO_PIN_SET);

  /*Configure GPIO pin Output Level */
  HAL_GPIO_WritePin(GPIOA, BATT_MON_EN_Pin|USART2_SD_DE_Pin|POWERUP_NC_EN_Pin|GEN_PWR_EN_Pin
                          |LED_B_Pin|LED_A_Pin, GPIO_PIN_RESET);

  /*Configure GPIO pin Output Level */
  HAL_GPIO_WritePin(GPIOB, SPI2_CS_BAR_Pin|MULTI_GREEN_Pin|RESET_NC_RST_BAR_Pin|MULTI_BLUE_Pin, GPIO_PIN_SET);

  /*Configure GPIO pin Output Level */
  HAL_GPIO_WritePin(GPIOB, LPUART1_DE_Pin|LED_C_Pin, GPIO_PIN_RESET);

  /*Configure GPIO pin Output Level */
  HAL_GPIO_WritePin(MULTI_RED_GPIO_Port, MULTI_RED_Pin, GPIO_PIN_SET);

  /*Configure GPIO pin : BUFFEN_OE_BAR_Pin */
  GPIO_InitStruct.Pin = BUFFEN_OE_BAR_Pin;
  GPIO_InitStruct.Mode = GPIO_MODE_OUTPUT_PP;
  GPIO_InitStruct.Pull = GPIO_PULLUP;
  GPIO_InitStruct.Speed = GPIO_SPEED_FREQ_LOW;
  HAL_GPIO_Init(BUFFEN_OE_BAR_GPIO_Port, &GPIO_InitStruct);

  /*Configure GPIO pin : BATT_MON_EN_Pin */
  GPIO_InitStruct.Pin = BATT_MON_EN_Pin;
  GPIO_InitStruct.Mode = GPIO_MODE_OUTPUT_PP;
  GPIO_InitStruct.Pull = GPIO_NOPULL;
  GPIO_InitStruct.Speed = GPIO_SPEED_FREQ_LOW;
  HAL_GPIO_Init(BATT_MON_EN_GPIO_Port, &GPIO_InitStruct);

  /*Configure GPIO pin : BATT_MON_Pin */
  GPIO_InitStruct.Pin = BATT_MON_Pin;
  GPIO_InitStruct.Mode = GPIO_MODE_ANALOG;
  GPIO_InitStruct.Pull = GPIO_NOPULL;
  HAL_GPIO_Init(BATT_MON_GPIO_Port, &GPIO_InitStruct);

  /*Configure GPIO pin : USART2_SD_DE_Pin */
  GPIO_InitStruct.Pin = USART2_SD_DE_Pin;
  GPIO_InitStruct.Mode = GPIO_MODE_OUTPUT_PP;
  GPIO_InitStruct.Pull = GPIO_PULLDOWN;
  GPIO_InitStruct.Speed = GPIO_SPEED_FREQ_HIGH;
  HAL_GPIO_Init(USART2_SD_DE_GPIO_Port, &GPIO_InitStruct);

  /*Configure GPIO pins : POWERUP_NC_EN_Pin GEN_PWR_EN_Pin LED_B_Pin LED_A_Pin
                           MULTI_RED_Pin */
  GPIO_InitStruct.Pin = POWERUP_NC_EN_Pin|GEN_PWR_EN_Pin|LED_B_Pin|LED_A_Pin
                          |MULTI_RED_Pin;
  GPIO_InitStruct.Mode = GPIO_MODE_OUTPUT_PP;
  GPIO_InitStruct.Pull = GPIO_PULLUP;
  GPIO_InitStruct.Speed = GPIO_SPEED_FREQ_LOW;
  HAL_GPIO_Init(GPIOA, &GPIO_InitStruct);

  /*Configure GPIO pins : SPI2_CS_BAR_Pin MULTI_GREEN_Pin RESET_NC_RST_BAR_Pin MULTI_BLUE_Pin
                           LED_C_Pin */
  GPIO_InitStruct.Pin = SPI2_CS_BAR_Pin|MULTI_GREEN_Pin|RESET_NC_RST_BAR_Pin|MULTI_BLUE_Pin
                          |LED_C_Pin;
  GPIO_InitStruct.Mode = GPIO_MODE_OUTPUT_PP;
  GPIO_InitStruct.Pull = GPIO_PULLUP;
  GPIO_InitStruct.Speed = GPIO_SPEED_FREQ_LOW;
  HAL_GPIO_Init(GPIOB, &GPIO_InitStruct);

  /*Configure GPIO pin : IR_WAKE_UP_Pin */
  GPIO_InitStruct.Pin = IR_WAKE_UP_Pin;
  GPIO_InitStruct.Mode = GPIO_MODE_IT_FALLING;
  GPIO_InitStruct.Pull = GPIO_NOPULL;
  HAL_GPIO_Init(IR_WAKE_UP_GPIO_Port, &GPIO_InitStruct);

  /*Configure GPIO pin : LPUART1_DE_Pin */
  GPIO_InitStruct.Pin = LPUART1_DE_Pin;
  GPIO_InitStruct.Mode = GPIO_MODE_OUTPUT_PP;
  GPIO_InitStruct.Pull = GPIO_PULLDOWN;
  GPIO_InitStruct.Speed = GPIO_SPEED_FREQ_HIGH;
  HAL_GPIO_Init(LPUART1_DE_GPIO_Port, &GPIO_InitStruct);

  /*Configure GPIO pin : ATTN_EXT15_Pin */
  GPIO_InitStruct.Pin = ATTN_EXT15_Pin;
  GPIO_InitStruct.Mode = GPIO_MODE_IT_RISING;
  GPIO_InitStruct.Pull = GPIO_NOPULL;
  HAL_GPIO_Init(ATTN_EXT15_GPIO_Port, &GPIO_InitStruct);

  /*Configure GPIO pin : SDOWN_BUFF_Pin */
  GPIO_InitStruct.Pin = SDOWN_BUFF_Pin;
  GPIO_InitStruct.Mode = GPIO_MODE_INPUT;
  GPIO_InitStruct.Pull = GPIO_NOPULL;
  HAL_GPIO_Init(SDOWN_BUFF_GPIO_Port, &GPIO_InitStruct);

  /* EXTI interrupt init*/
  HAL_NVIC_SetPriority(EXTI2_3_IRQn, 0, 0);
  HAL_NVIC_EnableIRQ(EXTI2_3_IRQn);

  HAL_NVIC_SetPriority(EXTI4_15_IRQn, 0, 0);
  HAL_NVIC_EnableIRQ(EXTI4_15_IRQn);

}

/* USER CODE BEGIN 4 */
void HAL_UART_TxCpltCallback(UART_HandleTypeDef *huart)
{
    if (huart->Instance == LPUART1) {
        Lpuart1_ContinueSend();
    }
#ifndef IR_USART2_SEL
    else if (huart->Instance == USART2) {
        ContinueSend();
    }
#endif
}

void HAL_IRDA_TxCpltCallback(IRDA_HandleTypeDef *hirda)
{
    if (hirda->Instance == USART2) {
#ifndef IR_USART2_SEL
        ContinueSend();
#endif
    }
}

void HAL_UART_RxCpltCallback(UART_HandleTypeDef *huart)
{
    if (huart->Instance == LPUART1) {
        uint8_t rx = Lpuart1.bufferrx[0];
        HAL_UART_Receive_IT(&hlpuart1, Lpuart1.bufferrx, 1);
        Parse_Lpuart1_Byte(rx);
    }
#ifndef IR_USART2_SEL
    else if (huart->Instance == USART2) {
    	SysState.last_activity_tick = HAL_GetTick(); // 10 seconds of no activity after getting this time, we move into STOP mode
        uint8_t rx = Usart2.bufferrx[0];
        HAL_UART_Receive_IT(&husart2, Usart2.bufferrx, 1);
        Parse_Usart2_Byte(rx);
    }
#endif
}

void HAL_IRDA_RxCpltCallback(IRDA_HandleTypeDef *hirda)
{
    if (hirda->Instance == USART2)
    {
        uint8_t rx = Usart2.bufferrx[0];
        if (rx != 0x00) // Ignore ambient 0x00 IR noise; reset inactivity timer on real packet bytes
        {
            SysState.last_activity_tick = HAL_GetTick();
        }
        HAL_IRDA_Receive_IT(&hirda2, Usart2.bufferrx, 1);
        Parse_Usart2_Byte(rx);
    }
}

void HAL_UART_ErrorCallback(UART_HandleTypeDef *huart)
{
    if (huart->Instance == LPUART1) {
        __HAL_UART_CLEAR_FLAG(huart, UART_FLAG_ORE | UART_FLAG_NE | UART_FLAG_FE | UART_FLAG_PE);
        volatile uint32_t temp = LPUART1->RDR;
        (void)temp;
        HAL_UART_Receive_IT(&hlpuart1, Lpuart1.bufferrx, 1);
    }
#ifndef IR_USART2_SEL
    else if (huart->Instance == USART2) {
        __HAL_UART_CLEAR_FLAG(huart, UART_FLAG_ORE | UART_FLAG_NE | UART_FLAG_FE | UART_FLAG_PE);
        volatile uint32_t temp = USART2->RDR;
        (void)temp;
        HAL_UART_Receive_IT(&husart2, Usart2.bufferrx, 1);
    }
#endif
}

void HAL_IRDA_ErrorCallback(IRDA_HandleTypeDef *hirda)
{
    if (hirda->Instance == USART2) {
        __HAL_IRDA_CLEAR_FLAG(hirda, IRDA_FLAG_ORE | IRDA_FLAG_NE | IRDA_FLAG_FE | IRDA_FLAG_PE);
        volatile uint32_t temp = USART2->ISR;
        temp = USART2->RDR;
        (void)temp;
        HAL_IRDA_Receive_IT(&hirda2, Usart2.bufferrx, 1);
    }
}

void HAL_GPIO_EXTI_Callback(uint16_t GPIO_Pin)
{
    if (GPIO_Pin == IR_WAKE_UP_Pin) // PB2 falling edge from USART2 IrDA/Pogo
    {
        HAL_NVIC_DisableIRQ(EXTI2_3_IRQn);
        SysState.wakeup_source = WAKEUP_USART2_IR;
    }
    else if (GPIO_Pin == ATTN_EXT15_Pin) // PB5 falling edge from Notecard
    {
        SysState.wakeup_source = WAKEUP_NOTECARD_ATTN;
        SysState.attn_pending = 1;
        SysState.last_activity_tick = HAL_GetTick();
    }
}

void HAL_RTCEx_WakeUpTimerEventCallback(RTC_HandleTypeDef *hrtc)
{
    SysState.wakeup_source = WAKEUP_RTC_TIMER;
    SysState.rtc_wakeup_pending = 1;
    SysState.last_activity_tick = HAL_GetTick();
}
/* USER CODE END 4 */

void Error_Handler(void)
{
  __disable_irq();
  while (1)
  {
  }
}
